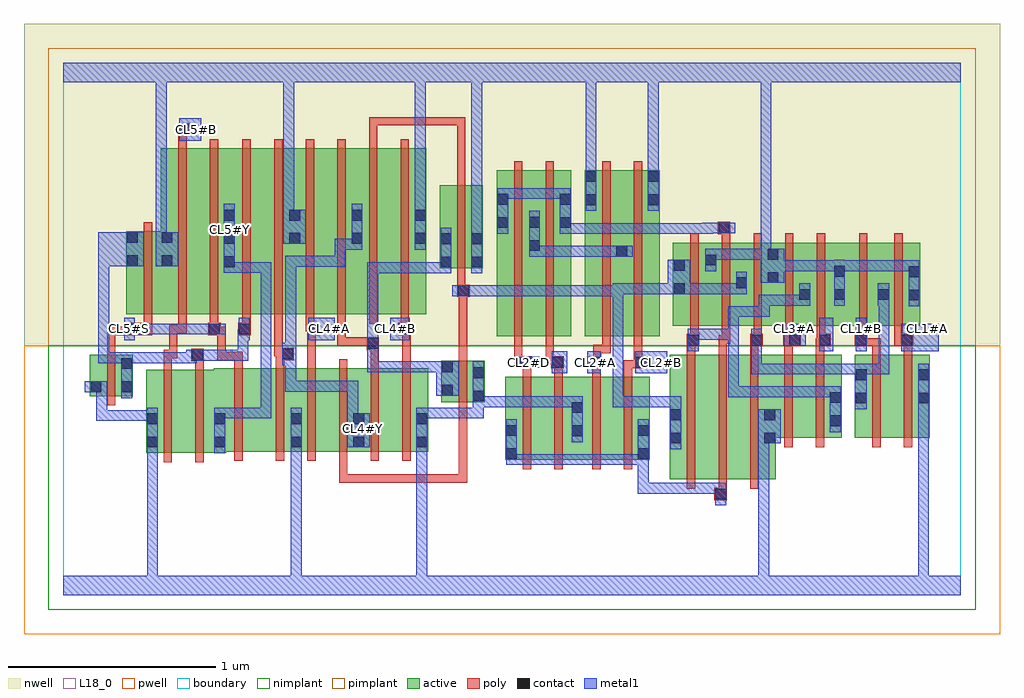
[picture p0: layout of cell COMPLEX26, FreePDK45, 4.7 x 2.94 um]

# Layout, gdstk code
import gdstk
lib = gdstk.Library(unit=1e-6, precision=1e-09)
def R(c, l, rs):  # rectangles x0, y0, x1, y1
    for r in rs: c.add(gdstk.rectangle(r[:2], r[2:], *l))
def A(c, l, x, y, w, h, nx, ny, dx, dy):  # array of equal rectangles
    R(c, l, [(x+i*dx, y+j*dy, x+i*dx+w, y+j*dy+h) for i in range(nx) for j in range(ny)])
active = (1, 0)
pwell = (2, 0)
nwell = (3, 0)
nimplant = (4, 0)
pimplant = (5, 0)
poly = (9, 0)
contact = (10, 0)
metal1 = (11, 0)
L18_0 = (18, 0)
boundary = (235, 0)

complex26 = lib.new_cell('COMPLEX26')
R(complex26, active, [(2.918,0.556,3.098,1.156), (2.918,0.556,2.978,1.156), (3.098,0.556,3.25,1.156), (3.25,0.556,3.43,1.156), (3.37,0.556,3.43,0.898), (2.128,0.65,2.188,1.05), (2.128,0.65,2.308,1.05), (2.308,0.65,2.504,1.05), (2.444,0.65,2.642,1.05), (2.444,0.65,2.504,0.932), (2.642,0.65,2.822,1.05), (2.762,0.65,2.822,1.05), (0.4,0.684,0.46,1.084), (0.4,0.684,0.58,1.084), (0.58,0.684,0.784,1.084), (0.724,0.69,0.968,1.09), (0.968,0.69,1.152,1.09), (1.092,0.69,1.272,1.09), (1.092,0.69,1.152,0.878), (1.272,0.69,1.452,1.09), (1.392,0.69,1.452,1.09), (1.392,0.69,1.576,1.09), (1.576,0.69,1.756,1.09), (1.696,0.69,1.756,1.09), (0.724,0.706,0.784,0.878), (3.37,0.756,3.566,1.156), (3.566,0.756,3.746,1.156), (3.686,0.756,3.746,1.156), (3.81,0.756,3.87,1.156), (3.81,0.756,3.99,1.156), (3.99,0.756,4.17,1.156), (4.11,0.756,4.17,1.156), (1.82,0.928,1.88,1.128), (1.82,0.928,2.028,1.128), (1.968,0.928,2.028,1.128), (0.128,0.956,0.188,1.156), (0.128,0.956,0.336,1.156), (0.276,0.956,0.336,1.156), (2.086,1.244,2.298,2.044), (2.086,1.244,2.146,2.044), (2.238,1.244,2.446,2.044), (2.386,1.244,2.446,2.044), (2.51,1.244,2.718,2.044), (2.51,1.244,2.57,2.044), (2.658,1.244,2.87,2.044), (2.934,1.296,2.994,1.644), (2.934,1.296,3.146,1.696), (3.086,1.296,3.294,1.696), (3.234,1.296,3.294,1.644), (3.234,1.296,3.446,1.696), (3.386,1.296,3.446,1.696), (3.386,1.296,3.598,1.696), (3.538,1.296,3.598,1.644), (3.538,1.296,3.766,1.696), (3.706,1.296,3.976,1.696), (3.916,1.296,4.124,1.696), (3.916,1.296,3.976,1.644), (4.064,1.296,4.124,1.696), (0.304,1.35,0.364,1.75), (0.304,1.35,0.53,1.75), (0.47,1.35,0.65,2.15), (0.65,1.35,0.83,2.15), (0.77,1.35,0.96,2.15), (0.96,1.35,1.144,2.15), (1.084,1.35,1.144,2.044), (1.084,1.35,1.264,2.15), (1.264,1.35,1.444,2.15), (1.384,1.35,1.444,2.044), (1.384,1.35,1.568,2.15), (1.568,1.35,1.748,2.15), (1.688,1.35,1.748,2.044), (3.706,1.416,3.766,1.644), (2.81,1.452,2.87,2.044), (1.812,1.572,1.872,1.744), (1.812,1.572,2.02,1.972), (1.96,1.572,2.02,1.972), (0.77,1.574,0.83,2.044), (0.47,1.578,0.53,2.15), (3.086,1.582,3.146,1.644), (2.658,1.624,2.718,2.044), (2.238,1.652,2.298,2.044)])
R(complex26, pwell, [(-0.188,-0.188,4.508,1.2)])
R(complex26, nwell, [(-0.188,1.2,4.508,2.748)])
R(complex26, nimplant, [(-0.072,-0.072,4.392,1.2)])
R(complex26, pimplant, [(-0.072,1.2,4.392,2.632)])
A(complex26, poly, 3.002, 0.512, 0.04, 0.688, 3, 1, 0.152, 0)
A(complex26, poly, 1.024, 0.646, 0.04, 0.488, 5, 1, 0.152, 0)
A(complex26, poly, 3.322, 1.216, 0.04, 0.076, 3, 1, 0.152, 0)
A(complex26, poly, 3.018, 1.252, 0.04, 0.488, 5, 1, 0.152, 0)
A(complex26, poly, 1.016, 1.306, 0.04, 0.888, 5, 1, 0.152, 0)
R(complex26, poly, [(3.134,0.456,3.194,0.516), (3.154,0.476,3.194,0.552), (1.328,0.54,1.368,0.58), (1.328,0.54,1.368,0.58), (1.328,0.54,1.368,0.58), (1.328,0.54,1.368,0.686), (1.328,0.54,1.546,0.58), (1.506,0.54,1.546,0.58), (1.506,0.54,1.546,0.58), (1.506,0.54,1.546,0.58), (1.506,0.54,1.83,0.58), (1.79,0.54,1.83,0.58), (1.79,0.54,1.83,0.58), (1.79,0.54,1.83,0.58), (1.79,0.54,1.944,0.58), (1.904,0.54,1.944,0.58), (1.904,0.54,1.944,0.58), (1.904,0.54,1.944,0.58), (1.904,0.54,1.944,0.58), (1.904,0.54,1.944,0.58), (1.904,0.54,1.944,0.58), (1.904,0.54,1.944,0.58), (1.904,0.54,1.944,0.924), (2.212,0.606,2.252,1.094), (2.364,0.606,2.404,1.094), (2.546,0.606,2.586,1.094), (2.698,0.606,2.738,1.094), (0.484,0.64,0.524,1.128), (0.636,0.64,0.676,1.128), (0.824,0.646,0.864,1.134), (3.47,0.712,3.51,1.2), (3.622,0.712,3.662,1.2), (3.894,0.712,3.934,1.2), (4.046,0.712,4.086,1.2), (1.904,0.884,1.944,1.172), (0.212,0.912,0.252,1.2), (2.212,1.054,2.252,1.13), (2.364,1.054,2.404,1.13), (2.546,1.054,2.586,1.13), (2.698,1.054,2.738,1.13), (0.484,1.088,0.524,1.18), (0.636,1.088,0.676,1.164), (2.194,1.09,2.254,1.15), (2.348,1.09,2.408,1.15), (2.53,1.09,2.59,1.15), (2.698,1.09,2.786,1.13), (2.746,1.09,2.786,1.13), (2.746,1.09,2.81,1.15), (0.824,1.094,0.864,1.17), (1.024,1.094,1.064,1.17), (1.176,1.094,1.216,1.29), (1.48,1.094,1.52,1.22), (1.632,1.094,1.672,1.29), (2.17,1.11,2.21,1.24), (2.17,1.11,2.234,1.15), (2.194,1.11,2.234,1.15), (2.322,1.11,2.362,1.24), (2.322,1.11,2.388,1.15), (2.348,1.11,2.388,1.15), (2.55,1.11,2.59,1.204), (2.746,1.11,2.786,1.24), (0.616,1.124,0.676,1.184), (0.742,1.13,0.782,1.17), (0.742,1.13,0.864,1.17), (0.742,1.13,0.782,1.29), (0.824,1.13,0.864,1.17), (1.024,1.13,1.11,1.19), (1.904,1.132,1.944,1.474), (0.484,1.14,0.55,1.18), (0.51,1.14,0.55,1.3), (1.016,1.15,1.056,1.346), (1.016,1.15,1.064,1.19), (1.024,1.15,1.064,1.19), (0.212,1.16,0.252,1.29), (3.002,1.16,3.042,1.236), (3.154,1.16,3.194,1.25), (3.306,1.16,3.346,1.236), (3.47,1.16,3.51,1.236), (3.622,1.16,3.662,1.236), (3.894,1.16,3.934,1.236), (4.046,1.16,4.086,1.236), (2.55,1.164,2.634,1.204), (2.594,1.164,2.634,1.24), (1.46,1.18,1.52,1.24), (3.002,1.196,3.042,1.236), (3.002,1.196,3.042,1.236), (3.002,1.196,3.062,1.256), (3.306,1.196,3.366,1.256), (3.47,1.196,3.51,1.236), (3.47,1.196,3.51,1.236), (3.47,1.196,3.55,1.256), (3.622,1.196,3.666,1.236), (3.626,1.196,3.666,1.236), (3.626,1.196,3.694,1.256), (3.81,1.196,3.87,1.256), (3.83,1.196,3.87,1.236), (3.83,1.196,3.934,1.236), (4,1.196,4.09,1.256), (4.046,1.196,4.086,1.236), (4.046,1.196,4.086,1.236), (1.32,1.2,1.36,1.24), (1.32,1.2,1.36,1.24), (1.32,1.2,1.36,1.24), (1.32,1.2,1.36,1.24), (1.32,1.2,1.36,1.24), (1.32,1.2,1.36,1.346), (1.32,1.2,1.5,1.24), (2.17,1.2,2.21,2.088), (2.322,1.2,2.362,2.088), (2.594,1.2,2.634,2.088), (2.746,1.2,2.786,2.088), (3.154,1.21,3.21,1.25), (3.17,1.21,3.21,1.25), (3.17,1.21,3.21,1.25), (3.17,1.21,3.21,1.292), (3.018,1.216,3.058,1.292), (3.322,1.216,3.362,1.256), (3.322,1.216,3.362,1.256), (3.83,1.216,3.87,1.292), (4,1.216,4.04,1.292), (0.212,1.25,0.33,1.29), (0.29,1.25,0.33,1.29), (0.29,1.25,0.428,1.31), (0.698,1.25,0.758,1.31), (0.718,1.25,0.782,1.29), (0.742,1.25,0.782,1.29), (0.842,1.25,0.902,1.31), (1.176,1.25,1.236,1.31), (1.612,1.25,1.672,1.31), (3.83,1.252,3.87,1.74), (4,1.252,4.04,1.74), (0.51,1.26,0.594,1.3), (0.554,1.26,0.594,1.346), (0.388,1.27,0.428,1.346), (0.706,1.27,0.746,1.346), (0.862,1.27,0.902,1.346), (1.168,1.27,1.208,1.346), (1.168,1.27,1.216,1.31), (1.176,1.27,1.216,1.31), (1.624,1.27,1.664,1.346), (1.624,1.27,1.664,1.31), (1.624,1.27,1.664,1.31), (0.388,1.306,0.428,1.794), (0.554,1.306,0.594,2.194), (0.706,1.306,0.746,2.194), (0.862,1.306,0.902,2.194), (1.896,1.434,1.956,1.494), (1.904,1.434,1.944,1.474), (1.904,1.434,1.944,1.474), (1.896,1.454,1.936,1.568), (1.896,1.528,1.936,2.016), (3.17,1.7,3.21,1.776), (3.15,1.736,3.21,1.796), (1.896,1.976,1.936,2.3), (0.554,2.154,0.594,2.25), (1.472,2.154,1.512,2.3), (0.554,2.21,0.614,2.27), (1.472,2.26,1.512,2.3), (1.472,2.26,1.512,2.3), (1.472,2.26,1.512,2.3), (1.472,2.26,1.77,2.3), (1.73,2.26,1.77,2.3), (1.73,2.26,1.77,2.3), (1.73,2.26,1.77,2.3), (1.73,2.26,1.77,2.3), (1.73,2.26,1.77,2.3), (1.73,2.26,1.936,2.3), (1.896,2.26,1.936,2.3), (1.896,2.26,1.936,2.3), (1.896,2.26,1.936,2.3), (1.896,2.26,1.936,2.3), (1.896,2.26,1.936,2.3), (1.896,2.26,1.936,2.3), (1.896,2.26,1.936,2.3), (1.896,2.26,1.936,2.3), (1.896,2.26,1.936,2.3)])
A(complex26, contact, 0.774, 1.578, 0.052, 0.052, 1, 3, 0, 0.112)
R(complex26, contact, [(3.138,0.46,3.19,0.512), (2.132,0.654,2.184,0.706), (2.766,0.654,2.818,0.706), (0.404,0.71,0.456,0.762), (0.728,0.71,0.78,0.762), (1.096,0.71,1.148,0.762), (1.396,0.71,1.448,0.762), (1.7,0.71,1.752,0.762), (2.922,0.73,2.974,0.782), (3.374,0.73,3.426,0.782), (2.448,0.764,2.5,0.816), (2.132,0.766,2.184,0.818), (2.766,0.766,2.818,0.818), (3.69,0.812,3.742,0.864), (0.404,0.822,0.456,0.874), (0.728,0.822,0.78,0.874), (1.096,0.822,1.148,0.874), (1.396,0.822,1.448,0.874), (1.7,0.822,1.752,0.874), (2.922,0.842,2.974,0.894), (3.374,0.842,3.426,0.894), (2.448,0.876,2.5,0.928), (3.814,0.922,3.866,0.974), (4.114,0.922,4.166,0.974), (3.69,0.924,3.742,0.976), (1.972,0.932,2.024,0.984), (1.824,0.96,1.876,1.012), (0.132,0.976,0.184,1.028), (0.28,0.976,0.332,1.028), (3.814,1.034,3.866,1.086), (4.114,1.034,4.166,1.086), (1.972,1.044,2.024,1.096), (1.824,1.072,1.876,1.124), (0.28,1.088,0.332,1.14), (2.198,1.094,2.25,1.146), (2.352,1.094,2.404,1.146), (2.534,1.094,2.586,1.146), (2.754,1.094,2.806,1.146), (0.62,1.128,0.672,1.18), (1.054,1.134,1.106,1.186), (1.464,1.184,1.516,1.236), (3.006,1.2,3.058,1.252), (3.31,1.2,3.362,1.252), (3.494,1.2,3.546,1.252), (3.638,1.2,3.69,1.252), (3.814,1.2,3.866,1.252), (4.034,1.2,4.086,1.252), (0.294,1.254,0.346,1.306), (0.702,1.254,0.754,1.306), (0.846,1.254,0.898,1.306), (1.18,1.254,1.232,1.306), (1.616,1.254,1.668,1.306), (4.068,1.418,4.12,1.47), (3.542,1.42,3.594,1.472), (3.71,1.42,3.762,1.472), (3.92,1.42,3.972,1.472), (1.9,1.438,1.952,1.49), (2.938,1.448,2.99,1.5), (3.238,1.476,3.29,1.528), (3.39,1.502,3.442,1.554), (4.068,1.53,4.12,1.582), (3.71,1.532,3.762,1.584), (2.938,1.56,2.99,1.612), (1.816,1.576,1.868,1.628), (1.964,1.576,2.016,1.628), (0.308,1.582,0.36,1.634), (0.474,1.582,0.526,1.634), (3.09,1.586,3.142,1.638), (3.39,1.614,3.442,1.666), (2.662,1.628,2.714,1.68), (2.242,1.656,2.294,1.708), (1.816,1.688,1.868,1.74), (1.964,1.688,2.016,1.74), (1.088,1.69,1.14,1.742), (1.388,1.69,1.44,1.742), (1.692,1.69,1.744,1.742), (0.308,1.694,0.36,1.746), (0.474,1.694,0.526,1.746), (3.154,1.74,3.206,1.792), (2.09,1.766,2.142,1.818), (2.39,1.766,2.442,1.818), (2.242,1.768,2.294,1.82), (1.088,1.802,1.14,1.854), (1.388,1.802,1.44,1.854), (1.692,1.802,1.744,1.854), (2.514,1.876,2.566,1.928), (2.814,1.876,2.866,1.928), (2.09,1.878,2.142,1.93), (2.39,1.878,2.442,1.93), (2.514,1.988,2.566,2.04), (2.814,1.988,2.866,2.04), (0.558,2.214,0.61,2.266)])
R(complex26, metal1, [(0,0,4.32,0.092), (0.404,0.04,0.456,0.092), (0.404,0.04,0.456,0.092), (0.404,0.04,0.456,0.092), (0.404,0.04,0.456,0.092), (0.404,0.04,0.456,0.092), (0.404,0.04,0.456,0.092), (0.404,0.04,0.456,0.092), (0.404,0.04,0.456,0.092), (0.404,0.04,0.456,0.734), (1.096,0.04,1.148,0.092), (1.096,0.04,1.148,0.092), (1.096,0.04,1.148,0.092), (1.096,0.04,1.148,0.092), (1.096,0.04,1.148,0.092), (1.096,0.04,1.148,0.092), (1.096,0.04,1.148,0.092), (1.096,0.04,1.148,0.092), (1.096,0.04,1.148,0.734), (1.7,0.04,1.752,0.092), (1.7,0.04,1.752,0.092), (1.7,0.04,1.752,0.734), (3.346,0.04,3.398,0.782), (4.114,0.04,4.166,0.946), (3.138,0.432,3.19,0.54), (2.766,0.488,2.818,0.54), (2.766,0.488,2.962,0.54), (2.766,0.488,2.818,0.678), (2.91,0.488,2.962,0.54), (2.91,0.488,2.962,0.54), (2.91,0.488,2.962,0.54), (2.91,0.488,3.142,0.54), (3.09,0.488,3.142,0.54), (3.09,0.488,3.19,0.54), (2.132,0.626,2.184,0.678), (2.132,0.626,2.184,0.678), (2.132,0.626,2.184,0.846), (2.132,0.626,2.294,0.678), (2.242,0.626,2.294,0.678), (2.242,0.626,2.294,0.678), (2.242,0.626,2.294,0.678), (2.242,0.626,2.442,0.678), (2.39,0.626,2.442,0.678), (2.39,0.626,2.442,0.678), (2.39,0.626,2.442,0.678), (2.39,0.626,2.552,0.678), (2.5,0.626,2.552,0.678), (2.5,0.626,2.552,0.678), (2.5,0.626,2.552,0.678), (2.5,0.626,2.818,0.678), (2.766,0.626,2.818,0.678), (2.766,0.626,2.818,0.678), (2.766,0.626,2.818,0.678), (2.766,0.626,2.818,0.678), (2.766,0.626,2.818,0.678), (2.766,0.626,2.818,0.678), (2.766,0.626,2.818,0.846), (0.404,0.682,0.456,0.734), (0.404,0.682,0.456,0.734), (0.404,0.682,0.456,0.734), (0.404,0.682,0.456,0.734), (0.404,0.682,0.456,0.902), (0.728,0.682,0.78,0.902), (1.096,0.682,1.148,0.734), (1.096,0.682,1.148,0.734), (1.096,0.682,1.148,0.734), (1.096,0.682,1.148,0.734), (1.096,0.682,1.148,0.902), (1.7,0.682,1.752,0.734), (1.7,0.682,1.752,0.734), (1.7,0.682,1.752,0.734), (1.7,0.682,1.752,0.734), (1.7,0.682,1.752,0.734), (1.7,0.682,1.752,0.734), (1.7,0.682,1.752,0.734), (1.7,0.682,1.752,0.734), (1.7,0.682,1.752,0.734), (1.7,0.682,1.752,0.734), (1.7,0.682,1.752,0.902), (2.922,0.702,2.974,0.922), (1.368,0.71,1.476,0.874), (3.346,0.73,3.398,0.782), (3.346,0.73,3.398,0.782), (3.346,0.73,3.398,0.782), (3.346,0.73,3.398,0.782), (3.346,0.73,3.398,0.782), (3.346,0.73,3.398,0.782), (3.346,0.73,3.398,0.782), (3.346,0.73,3.398,0.782), (3.346,0.73,3.454,0.894), (2.448,0.736,2.5,0.956), (3.69,0.784,3.742,1.004), (1.368,0.822,1.42,1.03), (0.16,0.838,0.212,0.89), (0.16,0.838,0.212,0.89), (0.16,0.838,0.212,0.89), (0.16,0.838,0.212,0.89), (0.16,0.838,0.212,0.89), (0.16,0.838,0.212,1.028), (0.16,0.838,0.402,0.89), (0.35,0.838,0.402,0.89), (0.35,0.838,0.456,0.89), (0.728,0.85,0.996,0.902), (0.944,0.85,0.996,0.902), (0.944,0.85,1.002,0.902), (0.95,0.85,1.002,0.902), (0.95,0.85,1.002,0.902), (0.95,0.85,1.002,0.902), (0.95,0.85,1.002,1.602), (1.7,0.85,1.87,0.902), (1.818,0.85,1.87,0.902), (1.818,0.85,1.87,0.902), (1.818,0.85,1.87,0.902), (1.818,0.85,1.87,0.902), (1.818,0.85,1.87,0.902), (1.818,0.85,2.024,0.902), (1.972,0.85,2.024,0.956), (2.922,0.87,2.974,0.956), (3.81,0.894,3.866,1.114), (4.114,0.894,4.166,0.946), (4.114,0.894,4.166,0.946), (4.114,0.894,4.166,0.946), (4.114,0.894,4.166,0.946), (4.114,0.894,4.166,0.946), (4.114,0.894,4.166,0.946), (4.114,0.894,4.166,0.946), (4.114,0.894,4.166,0.946), (4.114,0.894,4.166,0.946), (4.114,0.894,4.166,0.946), (4.114,0.894,4.166,0.946), (4.114,0.894,4.166,0.946), (4.114,0.894,4.166,1.114), (1.972,0.904,2.024,0.956), (1.972,0.904,2.024,1.124), (1.972,0.904,2.184,0.956), (2.132,0.904,2.184,0.956), (2.132,0.904,2.184,0.956), (2.132,0.904,2.184,0.956), (2.132,0.904,2.294,0.956), (2.242,0.904,2.294,0.956), (2.242,0.904,2.294,0.956), (2.242,0.904,2.294,0.956), (2.242,0.904,2.5,0.956), (2.644,0.904,2.696,0.956), (2.644,0.904,2.852,0.956), (2.644,0.904,2.696,1.49), (2.8,0.904,2.852,0.956), (2.8,0.904,2.852,0.956), (2.8,0.904,2.852,0.956), (2.8,0.904,2.974,0.956), (2.922,0.904,2.974,0.956), (0.28,0.948,0.332,1.168), (3.2,0.952,3.252,1.004), (3.2,0.952,3.252,1.004), (3.2,0.952,3.252,1.004), (3.2,0.952,3.408,1.004), (3.2,0.952,3.252,1.28), (3.356,0.952,3.408,1.004), (3.356,0.952,3.408,1.004), (3.356,0.952,3.408,1.004), (3.356,0.952,3.58,1.004), (3.528,0.952,3.58,1.004), (3.528,0.952,3.58,1.004), (3.528,0.952,3.58,1.004), (3.528,0.952,3.742,1.004), (3.69,0.952,3.742,1.004), (3.69,0.952,3.742,1.004), (1.796,0.96,1.904,1.124), (0.104,0.976,0.212,1.028), (1.07,0.978,1.122,1.03), (1.07,0.978,1.232,1.03), (1.07,0.978,1.122,1.158), (1.18,0.978,1.232,1.03), (1.18,0.978,1.232,1.03), (1.18,0.978,1.232,1.03), (1.18,0.978,1.358,1.03), (1.306,0.978,1.358,1.03), (1.306,0.978,1.406,1.03), (1.354,0.978,1.406,1.03), (1.354,0.978,1.406,1.03), (1.354,0.978,1.42,1.03), (3.31,1.062,3.362,1.224), (3.31,1.062,3.58,1.114), (3.528,1.062,3.58,1.114), (3.528,1.062,3.58,1.114), (3.528,1.062,3.58,1.114), (3.528,1.062,3.742,1.114), (3.69,1.062,3.742,1.114), (3.69,1.062,3.742,1.114), (3.69,1.062,3.742,1.114), (3.69,1.062,3.862,1.114), (3.81,1.062,3.862,1.114), (3.81,1.062,3.862,1.114), (3.81,1.062,3.976,1.114), (3.924,1.062,3.976,1.114), (3.924,1.062,3.976,1.114), (3.924,1.062,3.976,1.114), (3.924,1.062,3.976,1.114), (3.924,1.062,3.976,1.114), (3.924,1.062,3.976,1.444), (2.352,1.066,2.426,1.174), (2.522,1.066,2.586,1.174), (2.754,1.066,2.906,1.174), (1.464,1.072,1.516,1.124), (1.464,1.072,1.66,1.124), (1.464,1.072,1.516,1.264), (1.608,1.072,1.66,1.124), (1.608,1.072,1.66,1.124), (1.608,1.072,1.66,1.124), (1.608,1.072,1.848,1.124), (2.17,1.094,2.294,1.146), (1.054,1.106,1.106,1.214), (1.054,1.106,1.122,1.158), (1.07,1.106,1.122,1.158), (1.07,1.106,1.122,1.158), (1.07,1.106,1.122,1.158), (1.07,1.106,1.122,1.632), (0.17,1.116,0.222,1.168), (0.17,1.116,0.222,1.168), (0.17,1.116,0.222,1.168), (0.17,1.116,0.346,1.168), (0.17,1.116,0.332,1.168), (0.17,1.116,0.222,1.634), (0.28,1.116,0.332,1.168), (0.28,1.116,0.332,1.168), (0.294,1.116,0.346,1.168), (0.294,1.116,0.346,1.168), (0.294,1.116,0.346,1.168), (0.294,1.116,0.534,1.168), (0.482,1.116,0.534,1.168), (0.482,1.116,0.534,1.168), (0.482,1.116,0.534,1.168), (0.482,1.116,0.644,1.168), (0.592,1.116,0.644,1.18), (0.592,1.128,0.644,1.18), (0.592,1.128,0.7,1.18), (0.648,1.128,0.892,1.18), (0.84,1.128,0.892,1.18), (0.84,1.128,0.892,1.278), (1.464,1.156,1.516,1.264), (3.006,1.172,3.058,1.28), (3.31,1.172,3.362,1.224), (3.31,1.172,3.362,1.28), (3.638,1.172,3.706,1.334), (3.814,1.172,3.866,1.334), (4.034,1.172,4.214,1.306), (3.466,1.2,3.574,1.306), (1.464,1.212,1.516,1.264), (1.464,1.212,1.516,1.264), (1.464,1.212,1.516,1.6), (0.294,1.226,0.346,1.334), (0.84,1.226,0.892,1.278), (0.84,1.226,0.898,1.278), (0.846,1.226,0.898,1.334), (1.18,1.226,1.306,1.334), (1.574,1.226,1.668,1.334), (3.006,1.228,3.142,1.28), (3.09,1.228,3.142,1.28), (3.09,1.228,3.252,1.28), (3.2,1.228,3.252,1.28), (3.2,1.228,3.252,1.28), (3.2,1.228,3.252,1.39), (0.294,1.254,0.346,1.306), (0.294,1.254,0.346,1.306), (0.294,1.254,0.512,1.306), (0.46,1.254,0.512,1.306), (0.46,1.254,0.512,1.306), (0.46,1.254,0.512,1.306), (0.46,1.254,0.67,1.306), (0.618,1.254,0.67,1.306), (0.618,1.254,0.726,1.306), (0.674,1.254,0.782,1.306), (3.2,1.338,3.4,1.39), (3.348,1.338,3.4,1.39), (3.348,1.338,3.4,1.39), (3.348,1.338,3.4,1.39), (3.348,1.338,3.4,1.444), (4.068,1.39,4.12,1.61), (3.348,1.392,3.4,1.444), (3.348,1.392,3.518,1.444), (3.466,1.392,3.518,1.444), (3.466,1.392,3.594,1.444), (3.542,1.392,3.594,1.5), (3.71,1.392,3.762,1.612), (3.92,1.392,3.976,1.5), (1.872,1.438,1.98,1.49), (1.928,1.438,1.98,1.49), (1.928,1.438,1.98,1.49), (1.928,1.438,2.184,1.49), (2.132,1.438,2.184,1.49), (2.132,1.438,2.184,1.49), (2.132,1.438,2.184,1.49), (2.132,1.438,2.294,1.49), (2.242,1.438,2.294,1.49), (2.242,1.438,2.294,1.49), (2.242,1.438,2.294,1.49), (2.242,1.438,2.442,1.49), (2.39,1.438,2.442,1.49), (2.39,1.438,2.442,1.49), (2.39,1.438,2.442,1.49), (2.39,1.438,2.696,1.49), (2.644,1.438,2.696,1.49), (2.644,1.438,2.696,1.49), (2.644,1.438,2.696,1.49), (2.644,1.438,2.696,1.5), (2.644,1.448,2.696,1.5), (2.644,1.448,2.852,1.5), (2.8,1.448,2.852,1.5), (2.8,1.448,2.852,1.5), (2.8,1.448,2.852,1.5), (2.8,1.448,2.962,1.5), (2.91,1.448,3.018,1.612), (2.966,1.448,3.018,1.5), (2.966,1.448,3.018,1.5), (2.966,1.448,3.142,1.5), (3.09,1.448,3.142,1.5), (3.09,1.448,3.168,1.5), (3.116,1.448,3.168,1.5), (3.116,1.448,3.29,1.5), (3.238,1.448,3.29,1.556), (3.356,1.502,3.47,1.666), (1.464,1.548,1.55,1.6), (1.498,1.548,1.55,1.6), (1.498,1.548,1.55,1.6), (1.498,1.548,1.738,1.6), (1.686,1.548,1.738,1.6), (1.686,1.548,1.738,1.6), (1.686,1.548,1.738,1.6), (1.686,1.548,1.868,1.6), (1.816,1.548,1.868,1.768), (1.964,1.548,2.016,1.768), (0.774,1.55,0.826,1.658), (0.774,1.55,0.996,1.602), (0.944,1.55,0.996,1.602), (0.944,1.55,1.002,1.602), (0.95,1.55,1.002,1.602), (0.95,1.55,1.002,1.602), (0.95,1.55,1.002,1.602), (3.09,1.558,3.142,1.666), (3.418,1.558,3.58,1.61), (3.528,1.558,3.58,1.61), (3.528,1.558,3.58,1.61), (3.528,1.558,3.58,1.61), (3.528,1.558,3.742,1.61), (3.69,1.558,3.742,1.61), (3.69,1.558,3.762,1.61), (3.71,1.558,3.852,1.61), (3.8,1.558,3.852,1.61), (3.8,1.558,3.976,1.61), (3.924,1.558,3.976,1.61), (3.924,1.558,3.976,1.61), (3.924,1.558,3.976,1.61), (3.924,1.558,4.12,1.61), (4.068,1.558,4.12,1.61), (4.068,1.558,4.12,1.61), (1.07,1.58,1.122,1.632), (1.07,1.58,1.248,1.632), (1.196,1.58,1.248,1.632), (1.196,1.58,1.248,1.632), (1.196,1.58,1.248,1.632), (1.196,1.58,1.358,1.632), (1.306,1.58,1.358,1.714), (0.17,1.582,0.222,1.634), (0.17,1.582,0.222,1.634), (0.17,1.582,0.388,1.746), (0.446,1.582,0.554,1.746), (3.09,1.614,3.252,1.666), (3.2,1.614,3.252,1.666), (3.2,1.614,3.252,1.666), (3.2,1.614,3.252,1.666), (3.2,1.614,3.408,1.666), (3.356,1.614,3.408,1.666), (3.356,1.614,3.408,1.666), (3.356,1.614,3.408,2.52), (2.242,1.628,2.294,1.68), (2.242,1.628,2.294,1.68), (2.242,1.628,2.294,1.848), (2.242,1.628,2.442,1.68), (2.39,1.628,2.442,1.68), (2.39,1.628,2.442,1.68), (2.39,1.628,2.442,1.68), (2.39,1.628,2.686,1.68), (2.634,1.628,2.686,1.68), (2.634,1.628,2.686,1.68), (2.634,1.628,2.742,1.68), (0.774,1.662,0.826,1.882), (1.306,1.662,1.44,1.714), (1.388,1.662,1.44,1.882), (1.692,1.662,1.744,1.882), (1.06,1.69,1.168,1.854), (0.446,1.694,0.498,1.746), (0.446,1.694,0.498,1.746), (0.446,1.694,0.498,1.746), (0.446,1.694,0.498,1.746), (0.446,1.694,0.498,2.52), (1.964,1.716,2.016,2.52), (2.09,1.738,2.142,1.958), (2.39,1.738,2.442,1.79), (2.39,1.738,2.442,1.79), (2.39,1.738,2.442,1.958), (2.39,1.738,2.552,1.79), (2.5,1.738,2.552,1.79), (2.5,1.738,2.552,1.79), (2.5,1.738,2.552,1.79), (2.5,1.738,2.852,1.79), (2.8,1.738,2.852,1.79), (2.8,1.738,2.852,1.79), (2.8,1.738,2.852,1.79), (2.8,1.738,2.962,1.79), (2.91,1.738,2.962,1.79), (2.91,1.738,2.962,1.79), (2.91,1.738,2.962,1.79), (2.91,1.738,3.128,1.79), (3.076,1.738,3.128,1.792), (3.076,1.74,3.178,1.792), (3.126,1.74,3.234,1.792), (1.06,1.802,1.112,1.854), (1.06,1.802,1.112,1.854), (1.06,1.802,1.112,1.854), (1.06,1.802,1.112,1.854), (1.06,1.802,1.112,1.854), (1.06,1.802,1.112,1.854), (1.06,1.802,1.112,1.854), (1.06,1.802,1.112,1.854), (1.06,1.802,1.112,2.52), (1.692,1.83,1.744,2.52), (2.514,1.848,2.566,2.068), (2.814,1.848,2.866,2.068), (2.09,1.906,2.142,1.958), (2.09,1.906,2.142,1.958), (2.09,1.906,2.294,1.958), (2.242,1.906,2.294,1.958), (2.242,1.906,2.294,1.958), (2.242,1.906,2.294,1.958), (2.242,1.906,2.442,1.958), (2.514,2.016,2.566,2.068), (2.514,2.016,2.566,2.068), (2.514,2.016,2.566,2.068), (2.514,2.016,2.566,2.068), (2.514,2.016,2.566,2.068), (2.514,2.016,2.566,2.068), (2.514,2.016,2.566,2.52), (2.814,2.016,2.866,2.52), (0.558,2.186,0.666,2.294), (0,2.468,4.32,2.56), (0.446,2.468,0.498,2.52), (0.446,2.468,0.498,2.52), (0.446,2.468,0.498,2.52), (0.446,2.468,0.498,2.52), (1.692,2.468,1.744,2.52), (1.692,2.468,1.744,2.52), (1.692,2.468,1.744,2.52), (1.692,2.468,1.744,2.52), (1.692,2.468,1.744,2.52), (1.692,2.468,1.744,2.52), (1.692,2.468,1.744,2.52), (1.692,2.468,1.744,2.52), (1.964,2.468,2.016,2.52), (1.964,2.468,2.016,2.52), (1.964,2.468,2.016,2.52), (1.964,2.468,2.016,2.52), (1.964,2.468,2.016,2.52), (1.964,2.468,2.016,2.52), (1.964,2.468,2.016,2.52), (1.964,2.468,2.016,2.52), (1.964,2.468,2.016,2.52), (1.964,2.468,2.016,2.52), (1.964,2.468,2.016,2.52), (1.964,2.468,2.016,2.52), (1.964,2.468,2.016,2.52), (1.964,2.468,2.016,2.52), (1.964,2.468,2.016,2.52), (1.964,2.468,2.016,2.52), (2.514,2.468,2.566,2.52), (2.514,2.468,2.566,2.52), (2.814,2.468,2.866,2.52), (2.814,2.468,2.866,2.52), (2.814,2.468,2.866,2.52), (2.814,2.468,2.866,2.52), (2.814,2.468,2.866,2.52), (2.814,2.468,2.866,2.52), (2.814,2.468,2.866,2.52), (2.814,2.468,2.866,2.52), (3.356,2.468,3.408,2.52), (3.356,2.468,3.408,2.52), (3.356,2.468,3.408,2.52), (3.356,2.468,3.408,2.52), (3.356,2.468,3.408,2.52), (3.356,2.468,3.408,2.52), (3.356,2.468,3.408,2.52), (3.356,2.468,3.408,2.52), (3.356,2.468,3.408,2.52), (3.356,2.468,3.408,2.52), (3.356,2.468,3.408,2.52), (3.356,2.468,3.408,2.52), (3.356,2.468,3.408,2.52), (3.356,2.468,3.408,2.52), (3.356,2.468,3.408,2.52), (3.356,2.468,3.408,2.52)])
A(complex26, L18_0, 2.214, 1.094, 0.052, 0.052, 3, 1, 0.16, 0)
A(complex26, L18_0, 3.494, 1.254, 0.052, 0.052, 3, 1, 0.16, 0)
R(complex26, L18_0, [(0,0,4.32,0.092), (0.404,0.04,0.456,0.092), (0.404,0.04,0.456,0.092), (0.404,0.04,0.456,0.092), (0.404,0.04,0.456,0.092), (0.404,0.04,0.456,0.092), (0.404,0.04,0.456,0.092), (0.404,0.04,0.456,0.092), (0.404,0.04,0.456,0.092), (0.404,0.04,0.456,0.734), (1.096,0.04,1.148,0.092), (1.096,0.04,1.148,0.092), (1.096,0.04,1.148,0.092), (1.096,0.04,1.148,0.092), (1.096,0.04,1.148,0.092), (1.096,0.04,1.148,0.092), (1.096,0.04,1.148,0.092), (1.096,0.04,1.148,0.092), (1.096,0.04,1.148,0.734), (1.7,0.04,1.752,0.092), (1.7,0.04,1.752,0.092), (1.7,0.04,1.752,0.734), (3.346,0.04,3.398,0.782), (4.114,0.04,4.166,0.946), (0.404,0.682,0.456,0.734), (0.404,0.682,0.456,0.734), (0.404,0.682,0.456,0.734), (0.404,0.682,0.456,0.734), (0.404,0.682,0.456,0.902), (0.728,0.682,0.78,0.902), (1.096,0.682,1.148,0.734), (1.096,0.682,1.148,0.734), (1.096,0.682,1.148,0.734), (1.096,0.682,1.148,0.734), (1.096,0.682,1.148,0.902), (1.7,0.682,1.752,0.734), (1.7,0.682,1.752,0.734), (1.7,0.682,1.752,0.734), (1.7,0.682,1.752,0.734), (1.7,0.682,1.752,0.734), (1.7,0.682,1.752,0.734), (1.7,0.682,1.752,0.734), (1.7,0.682,1.752,0.734), (1.7,0.682,1.752,0.734), (1.7,0.682,1.752,0.734), (1.7,0.682,1.752,0.902), (1.368,0.71,1.476,0.874), (3.346,0.73,3.398,0.782), (3.346,0.73,3.398,0.782), (3.346,0.73,3.398,0.782), (3.346,0.73,3.398,0.782), (3.346,0.73,3.398,0.782), (3.346,0.73,3.398,0.782), (3.346,0.73,3.398,0.782), (3.346,0.73,3.398,0.782), (3.346,0.73,3.454,0.894), (2.448,0.736,2.5,0.956), (1.414,0.774,1.466,0.826), (1.368,0.822,1.42,1.03), (0.16,0.838,0.212,0.89), (0.16,0.838,0.212,0.89), (0.16,0.838,0.212,0.89), (0.16,0.838,0.212,0.89), (0.16,0.838,0.212,0.89), (0.16,0.838,0.212,1.028), (0.16,0.838,0.402,0.89), (0.35,0.838,0.402,0.89), (0.35,0.838,0.456,0.89), (0.728,0.85,0.996,0.902), (0.944,0.85,0.996,0.902), (0.944,0.85,1.002,0.902), (0.95,0.85,1.002,0.902), (0.95,0.85,1.002,0.902), (0.95,0.85,1.002,0.902), (0.95,0.85,1.002,1.602), (1.7,0.85,1.87,0.902), (1.818,0.85,1.87,0.902), (1.818,0.85,1.87,0.902), (1.818,0.85,1.87,0.902), (1.818,0.85,1.87,0.902), (1.818,0.85,1.87,0.902), (1.818,0.85,2.024,0.902), (1.972,0.85,2.024,0.956), (4.114,0.894,4.166,0.946), (4.114,0.894,4.166,0.946), (4.114,0.894,4.166,0.946), (4.114,0.894,4.166,0.946), (4.114,0.894,4.166,0.946), (4.114,0.894,4.166,0.946), (4.114,0.894,4.166,0.946), (4.114,0.894,4.166,0.946), (4.114,0.894,4.166,0.946), (4.114,0.894,4.166,0.946), (4.114,0.894,4.166,0.946), (4.114,0.894,4.166,0.946), (4.114,0.894,4.166,1.114), (1.972,0.904,2.024,0.956), (1.972,0.904,2.024,1.124), (1.972,0.904,2.184,0.956), (2.132,0.904,2.184,0.956), (2.132,0.904,2.184,0.956), (2.132,0.904,2.184,0.956), (2.132,0.904,2.294,0.956), (2.242,0.904,2.294,0.956), (2.242,0.904,2.294,0.956), (2.242,0.904,2.294,0.956), (2.242,0.904,2.5,0.956), (0.104,0.976,0.212,1.028), (1.07,0.978,1.122,1.03), (1.07,0.978,1.122,1.158), (1.07,0.978,1.232,1.03), (1.18,0.978,1.232,1.03), (1.18,0.978,1.232,1.03), (1.18,0.978,1.232,1.03), (1.18,0.978,1.358,1.03), (1.306,0.978,1.358,1.03), (1.306,0.978,1.406,1.03), (1.354,0.978,1.406,1.03), (1.354,0.978,1.406,1.03), (1.354,0.978,1.42,1.03), (2.352,1.066,2.426,1.174), (2.522,1.066,2.586,1.174), (2.754,1.066,2.906,1.174), (2.17,1.094,2.294,1.146), (2.854,1.094,2.906,1.146), (1.054,1.106,1.106,1.214), (1.054,1.106,1.122,1.158), (1.07,1.106,1.122,1.158), (1.07,1.106,1.122,1.158), (1.07,1.106,1.122,1.158), (1.07,1.106,1.122,1.632), (3.638,1.172,3.706,1.334), (3.814,1.172,3.866,1.334), (4.034,1.172,4.214,1.306), (3.466,1.2,3.574,1.306), (0.294,1.226,0.346,1.334), (1.18,1.226,1.306,1.334), (1.574,1.226,1.668,1.334), (0.294,1.254,0.346,1.306), (0.294,1.254,0.346,1.306), (0.294,1.254,0.346,1.306), (0.294,1.254,0.512,1.306), (0.46,1.254,0.512,1.306), (0.46,1.254,0.512,1.306), (0.46,1.254,0.512,1.306), (0.46,1.254,0.67,1.306), (0.618,1.254,0.67,1.306), (0.618,1.254,0.726,1.306), (0.674,1.254,0.782,1.306), (1.254,1.254,1.306,1.306), (1.574,1.254,1.626,1.306), (4.134,1.254,4.186,1.306), (4.068,1.39,4.12,1.61), (3.71,1.392,3.762,1.612), (3.356,1.502,3.47,1.666), (1.964,1.548,2.016,1.768), (0.774,1.55,0.826,1.658), (0.774,1.55,0.996,1.602), (0.944,1.55,0.996,1.602), (0.944,1.55,1.002,1.602), (0.95,1.55,1.002,1.602), (0.95,1.55,1.002,1.602), (0.95,1.55,1.002,1.602), (3.09,1.558,3.142,1.666), (3.418,1.558,3.58,1.61), (3.528,1.558,3.58,1.61), (3.528,1.558,3.58,1.61), (3.528,1.558,3.58,1.61), (3.528,1.558,3.742,1.61), (3.69,1.558,3.742,1.61), (3.69,1.558,3.762,1.61), (3.71,1.558,3.852,1.61), (3.8,1.558,3.852,1.61), (3.8,1.558,3.976,1.61), (3.924,1.558,3.976,1.61), (3.924,1.558,3.976,1.61), (3.924,1.558,3.976,1.61), (3.924,1.558,4.12,1.61), (4.068,1.558,4.12,1.61), (4.068,1.558,4.12,1.61), (1.07,1.58,1.122,1.632), (1.07,1.58,1.248,1.632), (1.196,1.58,1.248,1.632), (1.196,1.58,1.248,1.632), (1.196,1.58,1.248,1.632), (1.196,1.58,1.358,1.632), (1.306,1.58,1.358,1.714), (0.446,1.582,0.554,1.746), (3.09,1.614,3.252,1.666), (3.2,1.614,3.252,1.666), (3.2,1.614,3.252,1.666), (3.2,1.614,3.252,1.666), (3.2,1.614,3.408,1.666), (3.356,1.614,3.408,1.666), (3.356,1.614,3.408,1.666), (3.356,1.614,3.408,2.52), (0.774,1.662,0.826,1.882), (1.306,1.662,1.44,1.714), (1.388,1.662,1.44,1.882), (1.692,1.662,1.744,1.882), (1.06,1.69,1.168,1.854), (0.446,1.694,0.498,1.746), (0.446,1.694,0.498,1.746), (0.446,1.694,0.498,1.746), (0.446,1.694,0.498,1.746), (0.446,1.694,0.498,2.52), (1.964,1.716,2.016,2.52), (0.774,1.734,0.826,1.786), (1.06,1.802,1.112,1.854), (1.06,1.802,1.112,1.854), (1.06,1.802,1.112,1.854), (1.06,1.802,1.112,1.854), (1.06,1.802,1.112,1.854), (1.06,1.802,1.112,1.854), (1.06,1.802,1.112,1.854), (1.06,1.802,1.112,1.854), (1.06,1.802,1.112,2.52), (1.692,1.83,1.744,2.52), (2.514,1.848,2.566,2.068), (2.814,1.848,2.866,2.068), (2.514,2.016,2.566,2.068), (2.514,2.016,2.566,2.068), (2.514,2.016,2.566,2.068), (2.514,2.016,2.566,2.068), (2.514,2.016,2.566,2.068), (2.514,2.016,2.566,2.068), (2.514,2.016,2.566,2.52), (2.814,2.016,2.866,2.52), (0.558,2.186,0.666,2.294), (0.614,2.214,0.666,2.266), (0,2.468,4.32,2.56), (0.446,2.468,0.498,2.52), (0.446,2.468,0.498,2.52), (0.446,2.468,0.498,2.52), (0.446,2.468,0.498,2.52), (1.692,2.468,1.744,2.52), (1.692,2.468,1.744,2.52), (1.692,2.468,1.744,2.52), (1.692,2.468,1.744,2.52), (1.692,2.468,1.744,2.52), (1.692,2.468,1.744,2.52), (1.692,2.468,1.744,2.52), (1.692,2.468,1.744,2.52), (1.964,2.468,2.016,2.52), (1.964,2.468,2.016,2.52), (1.964,2.468,2.016,2.52), (1.964,2.468,2.016,2.52), (1.964,2.468,2.016,2.52), (1.964,2.468,2.016,2.52), (1.964,2.468,2.016,2.52), (1.964,2.468,2.016,2.52), (1.964,2.468,2.016,2.52), (1.964,2.468,2.016,2.52), (1.964,2.468,2.016,2.52), (1.964,2.468,2.016,2.52), (1.964,2.468,2.016,2.52), (1.964,2.468,2.016,2.52), (1.964,2.468,2.016,2.52), (1.964,2.468,2.016,2.52), (2.514,2.468,2.566,2.52), (2.514,2.468,2.566,2.52), (2.814,2.468,2.866,2.52), (2.814,2.468,2.866,2.52), (2.814,2.468,2.866,2.52), (2.814,2.468,2.866,2.52), (2.814,2.468,2.866,2.52), (2.814,2.468,2.866,2.52), (2.814,2.468,2.866,2.52), (2.814,2.468,2.866,2.52), (3.356,2.468,3.408,2.52), (3.356,2.468,3.408,2.52), (3.356,2.468,3.408,2.52), (3.356,2.468,3.408,2.52), (3.356,2.468,3.408,2.52), (3.356,2.468,3.408,2.52), (3.356,2.468,3.408,2.52), (3.356,2.468,3.408,2.52), (3.356,2.468,3.408,2.52), (3.356,2.468,3.408,2.52), (3.356,2.468,3.408,2.52), (3.356,2.468,3.408,2.52), (3.356,2.468,3.408,2.52), (3.356,2.468,3.408,2.52), (3.356,2.468,3.408,2.52), (3.356,2.468,3.408,2.52)])
R(complex26, boundary, [(0,0,4.32,2.56)])
complex26.add(gdstk.Label('CL1#A', (4.16,1.28), layer=11, texttype=0))
complex26.add(gdstk.Label('CL1#B', (3.84,1.28), layer=11, texttype=0))
complex26.add(gdstk.Label('CL2#A', (2.56,1.12), layer=11, texttype=0))
complex26.add(gdstk.Label('CL2#B', (2.88,1.12), layer=11, texttype=0))
complex26.add(gdstk.Label('CL2#C', (2.4,1.12), layer=11, texttype=0))
complex26.add(gdstk.Label('CL2#D', (2.24,1.12), layer=11, texttype=0))
complex26.add(gdstk.Label('CL3#A', (3.52,1.28), layer=11, texttype=0))
complex26.add(gdstk.Label('CL3#B', (3.68,1.28), layer=11, texttype=0))
complex26.add(gdstk.Label('CL4#A', (1.28,1.28), layer=11, texttype=0))
complex26.add(gdstk.Label('CL4#B', (1.6,1.28), layer=11, texttype=0))
complex26.add(gdstk.Label('CL4#Y', (1.44,0.8), layer=11, texttype=0))
complex26.add(gdstk.Label('CL5#B', (0.64,2.24), layer=11, texttype=0))
complex26.add(gdstk.Label('CL5#S', (0.32,1.28), layer=11, texttype=0))
complex26.add(gdstk.Label('CL5#Y', (0.8,1.76), layer=11, texttype=0))

lib.write_gds('COMPLEX26.gds')
